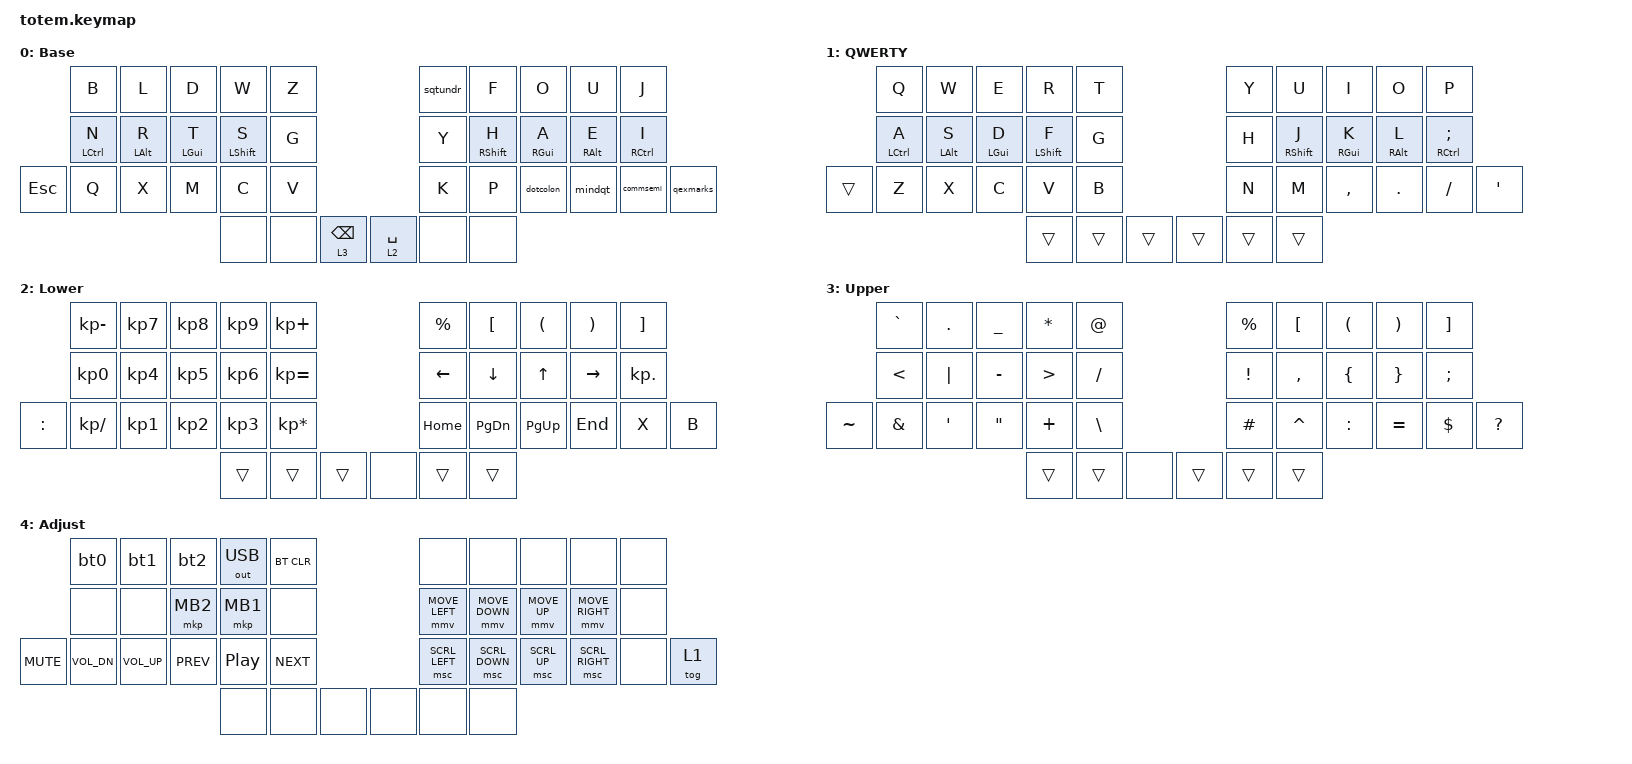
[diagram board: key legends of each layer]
#include <behaviors.dtsi>
#include <dt-bindings/zmk/keys.h>
#include <dt-bindings/zmk/bt.h>
#include <dt-bindings/zmk/outputs.h>

#define ZMK_POINTING_DEFAULT_MOVE_VAL 1500
#define ZMK_POINTING_DEFAULT_SCRL_VAL 20

#include <dt-bindings/zmk/pointing.h>

/ {
    behaviors {
        hml: home_row_mod_left {
            compatible = "zmk,behavior-hold-tap";
            display-name = "Home Row Mod L";
            #binding-cells = <2>;
            flavor = "balanced";
            require-prior-idle-ms = <125>;
            tapping-term-ms = <280>;
            quick-tap-ms = <175>;
            bindings = <&kp>, <&kp>;
            hold-trigger-key-positions = <5 6 7 8 9 15 16 17 18 19 26 27 28 29 30 31 35 36 37>;
            hold-trigger-on-release;
        };
        hmr: home_row_mod_right {
            compatible = "zmk,behavior-hold-tap";
            display-name = "Home Row Mod R";
            #binding-cells = <2>;
            flavor = "balanced";
            require-prior-idle-ms = <125>;
            tapping-term-ms = <280>;
            quick-tap-ms = <175>;
            bindings = <&kp>, <&kp>;
            hold-trigger-key-positions = <0 1 2 3 4 10 11 12 13 14 20 21 22 23 24 25 32 33 34>;
            hold-trigger-on-release;
        };
        ltt: layer_tap_thumb {
            compatible = "zmk,behavior-hold-tap";
            display-name = "Layer-Tap";
            #binding-cells = <2>;
            flavor = "balanced";
            tapping-term-ms = <280>;
            quick-tap-ms = <175>;
            bindings = <&mo>, <&kp>;
        };

        bt0: bt_profile_0 {
            compatible = "zmk,behavior-tap-dance";
            display-name = "Bluetooth Profile 0";
            #binding-cells = <0>;
            bindings = <&macro_bt0>, <&bt BT_DISC 0>;
        };
        bt1: bt_profile_1 {
            compatible = "zmk,behavior-tap-dance";
            display-name = "Bluetooth Profile 1";
            #binding-cells = <0>;
            bindings = <&macro_bt1>, <&bt BT_DISC 1>;
        };
        bt2: bt_profile_2 {
            compatible = "zmk,behavior-tap-dance";
            display-name = "Bluetooth Profile 2";
            #binding-cells = <0>;
            bindings = <&macro_bt2>, <&bt BT_DISC 2>;
        };

        sqtundr: shift_squote_underscore {
            compatible = "zmk,behavior-mod-morph";
            #binding-cells = <0>;
            bindings = <&kp SQT>, <&kp UNDER>;
            mods = <(MOD_LSFT)>;
        };
        qexmarks: shift_qmark_exmark {
            compatible = "zmk,behavior-mod-morph";
            #binding-cells = <0>;
            bindings = <&kp QMARK>, <&kp EXCL>;
            mods = <(MOD_LSFT)>;
        };
        dotcolon: shift_dot_colon {
            compatible = "zmk,behavior-mod-morph";
            #binding-cells = <0>;
            bindings = <&kp DOT>, <&kp COLON>;
            mods = <(MOD_LSFT)>;
        };
        mindqt: shift_minus_dquote {
            compatible = "zmk,behavior-mod-morph";
            #binding-cells = <0>;
            bindings = <&kp MINUS>, <&kp DQT>;
            mods = <(MOD_LSFT)>;
        };
        commsemi: shift_comma_semicolon {
            compatible = "zmk,behavior-mod-morph";
            #binding-cells = <0>;
            bindings = <&kp COMMA>, <&kp SEMI>;
            mods = <(MOD_LSFT)>;
        };
    };

    macros {
        macro_bt0: bt_profile_0_macro {
            compatible = "zmk,behavior-macro";
            #binding-cells = <0>;
            bindings = <&out OUT_BLE>, <&bt BT_SEL 0>;
        };

        macro_bt1: bt_profile_1_macro {
            compatible = "zmk,behavior-macro";
            #binding-cells = <0>;
            bindings = <&out OUT_BLE>, <&bt BT_SEL 1>;
        };

        macro_bt2: bt_profile_2_macro {
            compatible = "zmk,behavior-macro";
            #binding-cells = <0>;
            bindings = <&out OUT_BLE>, <&bt BT_SEL 2>;
        };
    };

    combos {
        compatible = "zmk,combos";

        combo_tab {
            timeout-ms = <30>;
            require-prior-idle-ms = <175>;
            key-positions = <1 2>; // LD
            layers = <0 1>;
            bindings = <&kp TAB>;
        };

        combo_bspc {
            timeout-ms = <30>;
            key-positions = <22 23>; // XM
            layers = <0 1>;
            bindings = <&kp BSPC>;
        };
        combo_spc_lower {
            timeout-ms = <30>;
            key-positions = <22 23>;
            layers = <2>;
            bindings = <&kp SPACE>;
        };

        combo_enter {
            timeout-ms = <30>;
            require-prior-idle-ms = <175>;
            key-positions = <7 8>; // OU
            layers = <0 1>;
            bindings = <&kp ENTER>;
        };

        combo_del {
            timeout-ms = <30>;
            key-positions = <28 29>; // ,.
            layers = <0 1>;
            bindings = <&kp DEL>;
        };
        combo_bspc_upper {
            timeout-ms = <30>;
            key-positions = <28 29>;
            layers = <3>;
            bindings = <&kp BSPC>;
        };

        combo_caps_word {
            timeout-ms = <30>;
            key-positions = <13 16>; // SH
            layers = <0 1>;
            bindings = <&caps_word>;
        };
    };

    conditional_layers {
        compatible = "zmk,conditional-layers";
        tri_layer {
            if-layers = <2 3>;
            then-layer = <4>;
        };
    };

    keymap {
        compatible = "zmk,keymap";

        /* Base (default), Graphite alphas
         */
        base_layer {
            display-name = "Base";
            bindings = <
                             &kp B        &kp L        &kp D        &kp W        &kp Z                                    &sqtundr     &kp F        &kp O        &kp U        &kp J
                             &hml LCTRL N &hml LALT R  &hml LGUI T  &hml LSHFT S &kp G                                    &kp Y        &hmr RSHFT H &hmr RGUI A  &hmr RALT E  &hmr RCTRL I
                &kp ESC      &kp Q        &kp X        &kp M        &kp C        &kp V                                    &kp K        &kp P        &dotcolon    &mindqt      &commsemi    &qexmarks
                                                                    &none        &none        &ltt 3 BSPC    &ltt 2 SPACE &none        &none
            >;
        };

        /* QWERTY alphas
         */
        qwerty_layer {
            display-name = "QWERTY";
            bindings = <
                             &kp Q        &kp W        &kp E        &kp R        &kp T                                    &kp Y        &kp U        &kp I        &kp O        &kp P
                             &hml LCTRL A &hml LALT S  &hml LGUI D  &hml LSHFT F &kp G                                    &kp H        &hmr RSHFT J &hmr RGUI K  &hmr RALT L  &hmr RCTRL SEMI
                &trans       &kp Z        &kp X        &kp C        &kp V        &kp B                                    &kp N        &kp M        &kp COMMA    &kp DOT      &kp FSLH     &kp SQT
                                                                    &trans       &trans       &trans         &trans       &trans       &trans
            >;
        };

        /* Numbers, Navigation
         */
        lower_layer {
            display-name = "Lower";
            bindings = <
                             &kp KP_MINUS &kp KP_N7    &kp KP_N8    &kp KP_N9    &kp KP_PLUS                              &kp PRCNT    &kp LBKT     &kp LPAR     &kp RPAR     &kp RBKT
                             &kp KP_N0    &kp KP_N4    &kp KP_N5    &kp KP_N6    &kp KP_EQUAL                             &kp LEFT     &kp DOWN     &kp UP       &kp RIGHT    &kp KP_DOT
                &kp COLON    &kp KP_SLASH &kp KP_N1    &kp KP_N2    &kp KP_N3    &kp KP_ASTERISK                          &kp HOME     &kp PG_DN    &kp PG_UP    &kp END      &kp X        &kp B
                                                                    &trans       &trans       &trans         &none        &trans       &trans
            >;
        };

        /* Symbols
         */
        upper_layer {
            display-name = "Upper";
            bindings = <
                             &kp GRAVE    &kp DOT      &kp UNDER    &kp ASTRK    &kp AT                                   &kp PRCNT    &kp LBKT     &kp LPAR     &kp RPAR     &kp RBKT
                             &kp LT       &kp PIPE     &kp MINUS    &kp GT       &kp FSLH                                 &kp EXCL     &kp COMMA    &kp LBRC     &kp RBRC     &kp SEMI
                &kp TILDE    &kp AMPS     &kp SQT      &kp DQT      &kp PLUS     &kp BSLH                                 &kp HASH     &kp CARET    &kp COLON    &kp EQUAL    &kp DLLR     &kp QMARK
                                                                    &trans       &trans       &none          &trans       &trans       &trans
            >;
        };

        /* Media, Mouse, Keyboard control
         */
        adjust_layer {
            display-name = "Adjust";
            bindings = <
                             &bt0         &bt1         &bt2         &out OUT_USB &bt BT_CLR                               &none        &none        &none        &none        &none
                             &none        &none        &mkp MB2     &mkp MB1     &none                                    &mmv MOVE_LEFT &mmv MOVE_DOWN &mmv MOVE_UP &mmv MOVE_RIGHT &none
                &kp C_MUTE   &kp C_VOL_DN &kp C_VOL_UP &kp C_PREV   &kp C_PP     &kp C_NEXT                               &msc SCRL_LEFT &msc SCRL_DOWN &msc SCRL_UP &msc SCRL_RIGHT &none &tog 1
                                                                    &none        &none        &none          &none        &none        &none
            >;
        };
    };
};
